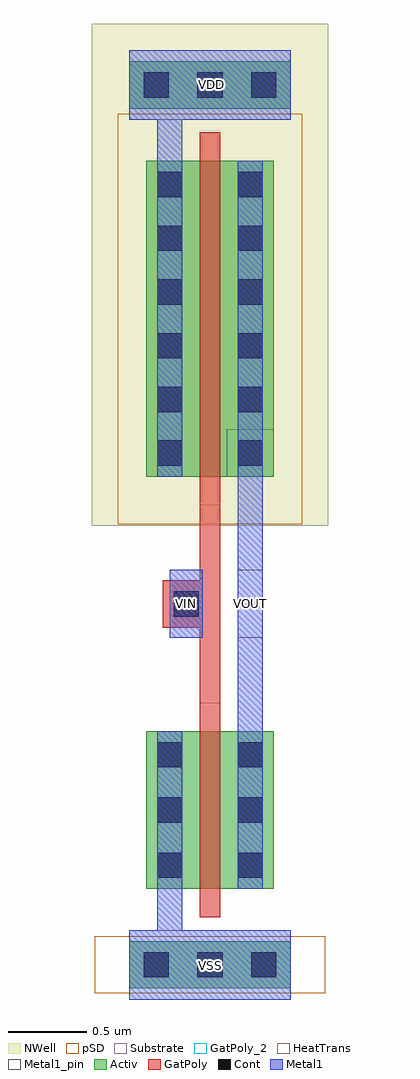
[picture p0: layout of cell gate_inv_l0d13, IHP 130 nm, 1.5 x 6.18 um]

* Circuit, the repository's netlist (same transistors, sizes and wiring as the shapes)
** sch_path: /foss/designs/chipathon_2025/designs/ihp-sg13g2/gate_inv_L0d13/xschem/gate_inv_L0d13.sch
.subckt gate_inv_L0d13 VDD VIN VOUT VSS
*.PININFO VDD:I VSS:I VIN:I VOUT:O
M2 VDD VIN VOUT VDD sg13_lv_pmos w=2u l=0.13u ng=1 m=1
M1 VOUT VIN VSS VSS sg13_lv_nmos w=1.0u l=0.13u ng=1 m=1
.ends

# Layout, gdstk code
from math import pi, radians
import gdstk
lib = gdstk.Library(unit=1e-6, precision=5e-09)
def R(c, l, rs):  # rectangles x0, y0, x1, y1
    for r in rs: c.add(gdstk.rectangle(r[:2], r[2:], *l))
def A(c, l, x, y, w, h, nx, ny, dx, dy):  # array of equal rectangles
    R(c, l, [(x+i*dx, y+j*dy, x+i*dx+w, y+j*dy+h) for i in range(nx) for j in range(ny)])
def P(c, l, *ps):  # polygons
    for p in ps: c.add(gdstk.Polygon(p, *l))
Activ = (1, 0)
GatPoly = (5, 0)
GatPoly_2 = (5, 2)
Cont = (6, 0)
Metal1 = (8, 0)
Metal1_pin = (8, 2)
pSD = (14, 0)
NWell = (31, 0)
Substrate = (40, 0)
HeatTrans = (51, 0)

pmos = lib.new_cell('pmos')
R(pmos, Activ, [(0,0,0.3,0.3), (0,0,0.81,2), (0.51,0,0.81,0.3)])
R(pmos, GatPoly, [(0.34,-0.18,0.47,2.18), (0.34,-0.18,0.47,2.18)])
A(pmos, Cont, 0.07, 0.07, 0.16, 0.16, 1, 6, 0, 0.34)
A(pmos, Cont, 0.58, 0.07, 0.16, 0.16, 1, 6, 0, 0.34)
R(pmos, Metal1, [(0.07,0,0.23,2), (0.07,0,0.23,2), (0.58,0,0.74,2), (0.58,0,0.74,2)])
R(pmos, pSD, [(-0.18,-0.3,0.99,2.3)])
R(pmos, NWell, [(-0.31,-0.31,1.12,2.31)])
R(pmos, Substrate, [(0.51,0,0.81,0.3)])
R(pmos, HeatTrans, [(0.34,-0.18,0.47,2.18)])
pmos.add(gdstk.Label('pmos', (0.405,1), layer=63, texttype=0))
pmos.add(gdstk.Label('pmos', (0.405,1), layer=51, texttype=0))

nmos_1 = lib.new_cell('nmos$1')
R(nmos_1, Activ, [(0,0,0.3,0.3), (0,0,0.81,1), (0.51,0,0.81,0.3)])
R(nmos_1, GatPoly, [(0.34,-0.18,0.47,1.18)])
R(nmos_1, GatPoly_2, [(0.34,-0.18,0.47,1.18)])
A(nmos_1, Cont, 0.07, 0.07, 0.16, 0.16, 1, 3, 0, 0.35)
A(nmos_1, Cont, 0.58, 0.07, 0.16, 0.16, 1, 3, 0, 0.35)
R(nmos_1, Metal1, [(0.07,0,0.23,1), (0.58,0,0.74,1)])
R(nmos_1, Metal1_pin, [(0.07,0,0.23,1), (0.58,0,0.74,1)])
R(nmos_1, HeatTrans, [(0.34,-0.18,0.47,1.18)])
nmos_1.add(gdstk.Label('nmos', (0.405,0.5), layer=63, texttype=0))
nmos_1.add(gdstk.Label('nmos', (0.405,0.5), layer=51, texttype=0))

via_stack = lib.new_cell('via_stack')
R(via_stack, Activ, [(-0.49,-0.15,0.49,0.15)])
A(via_stack, Cont, -0.42, -0.08, 0.16, 0.16, 3, 1, 0.34, 0)
R(via_stack, Metal1, [(-0.47,-0.08,0.47,0.08)])

via_stack_1 = lib.new_cell('via_stack$1')
R(via_stack_1, GatPoly, [(-0.15,-0.15,0.15,0.15)])
R(via_stack_1, Cont, [(-0.08,-0.08,0.08,0.08)])
R(via_stack_1, Metal1, [(-0.13,-0.08,0.13,0.08)])

gate_inv_l0d13 = lib.new_cell('gate_inv_l0d13')
R(gate_inv_l0d13, GatPoly, [(1.315,1.86,1.445,3.11)])
R(gate_inv_l0d13, Metal1, [(1.045,0.42,1.205,1.08), (1.555,1.135,1.715,3.725), (1.125,2.27,1.335,2.7), (1.045,4.67,1.205,5.76), (0.89,5.62,1.87,5.92)])
P(gate_inv_l0d13, Metal1, [(1.045,5.01),(1.045,5.01),(1.205,5.01),(1.205,5.01)])
R(gate_inv_l0d13, Metal1_pin, [(0.87,-0.02,1.89,0.42), (1.125,2.27,1.335,2.7), (1.555,2.27,1.715,2.7), (0.87,5.55,1.89,5.99)])
R(gate_inv_l0d13, pSD, [(0.65,0.02,2.11,0.38)])
R(gate_inv_l0d13, NWell, [(0.63,2.98,2.13,6.16)])
gate_inv_l0d13.add(gdstk.FlexPath([(0.87,5.77),(1.89,5.77)], 0.44, ends="flush", simple_path=True, layer=8, datatype=0))  # Metal1
gate_inv_l0d13.add(gdstk.FlexPath([(0.87,0.2),(1.89,0.2)], 0.44, ends="flush", simple_path=True, layer=8, datatype=0))  # Metal1
gate_inv_l0d13.add(gdstk.FlexPath([(0.87,5.77),(1.89,5.77)], 0.3, ends="flush", simple_path=True, layer=1, datatype=0))  # Activ
gate_inv_l0d13.add(gdstk.FlexPath([(0.87,0.2),(1.89,0.2)], 0.3, ends="flush", simple_path=True, layer=1, datatype=0))  # Activ
gate_inv_l0d13.add(gdstk.Reference(pmos, (0.975,3.29)))
gate_inv_l0d13.add(gdstk.Reference(nmos_1, (0.975,0.68)))
gate_inv_l0d13.add(gdstk.Reference(via_stack, (1.38,0.2)))
gate_inv_l0d13.add(gdstk.Reference(via_stack, (1.38,5.77)))
gate_inv_l0d13.add(gdstk.Reference(via_stack_1, (1.23,2.485), rotation=3*pi/2))
gate_inv_l0d13.add(gdstk.Label('VDD', (1.39,5.775), layer=8, texttype=25))
gate_inv_l0d13.add(gdstk.Label('VIN', (1.23,2.485), layer=8, texttype=25))
gate_inv_l0d13.add(gdstk.Label('VOUT', (1.635,2.485), layer=8, texttype=25))
gate_inv_l0d13.add(gdstk.Label('VSS', (1.385,0.195), layer=8, texttype=25))

lib.write_gds('gate_inv_l0d13.gds')
